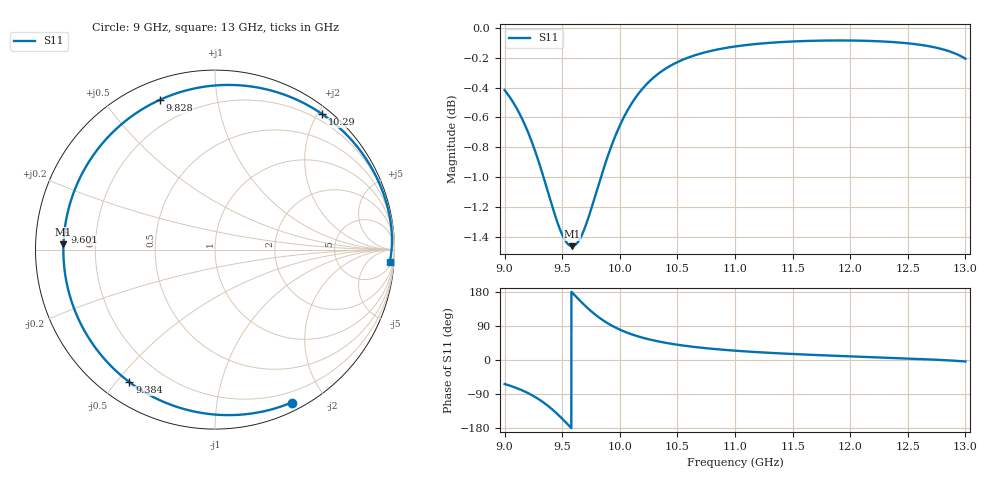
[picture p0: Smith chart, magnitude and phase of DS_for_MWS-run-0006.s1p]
! TOUCHSTONE file generated by CST DESIGN STUDIO
! Date and time: Tue Feb  4 17:59:49 2025
! Project name: C:\Work\MatlabApps\UnitCellOptimizationMatlab\CST\unitcell.cst
! Tree item: Tasks\Sweep1\SPara1\S-Parameters
! Header version: 2024
! Port assignment regex: !\s*Touchstone port\s*([0-9]+)\s*=\s*(CST MWS port|CST DES external port|CST DES block port)\s*(.+)\s* \(\"(.*)\"\)(\s*mode\s*([0-9]+))?.*
! Touchstone port assignment:
! Touchstone port 1 = CST DES external port 1 ("")
# GHz S MA R 50
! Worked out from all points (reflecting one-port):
!   4001 points, 9 GHz to 13 GHz, reference 50 ohm
!   lowest |S11| = -1.5 dB at 9.586 GHz (marker M1), VSWR 11.89, Z = 4.21 + j0.838 ohm
!   phase of S11 starts at -63 deg and turns -301 deg over the sweep
!   S11 on the Smith chart (normalised r, x): 9 GHz: 0.09, -1.62; 9.384 GHz: 0.08, -0.54; 9.601 GHz: 0.08, +0.06; 9.828 GHz: 0.09, +0.69; 10.29 GHz: 0.10, +2.07; 13 GHz: 9, -26
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9  0.9532 -63.4
9.046  0.9479 -67.8
9.114  0.9384 -75.2
9.232  0.9167 -91.9
9.312  0.8978 -106.6
9.384  0.879 -122.8
9.441  0.8645 -137.7
9.5  0.8524 -154.9
9.544  0.8467 -168.6
9.586  0.8449 178.1
9.601  0.8451 173.3
9.657  0.8501 155.7
9.72  0.862 137.2
9.773  0.8748 123.2
9.828  0.889 110.3
9.906  0.9081 94.9
10  0.9274 80.2
10.067  0.9384 71.7
10.137  0.9477 64.3
10.213  0.9557 57.6
10.295  0.9626 51.6
10.5  0.974 40.3
10.72  0.9809 32.0
11  0.9858 24.6
11.5  0.9897 15.8
12  0.9904 9.6
12.5  0.9883 3.9
13  0.9766 -3.9
